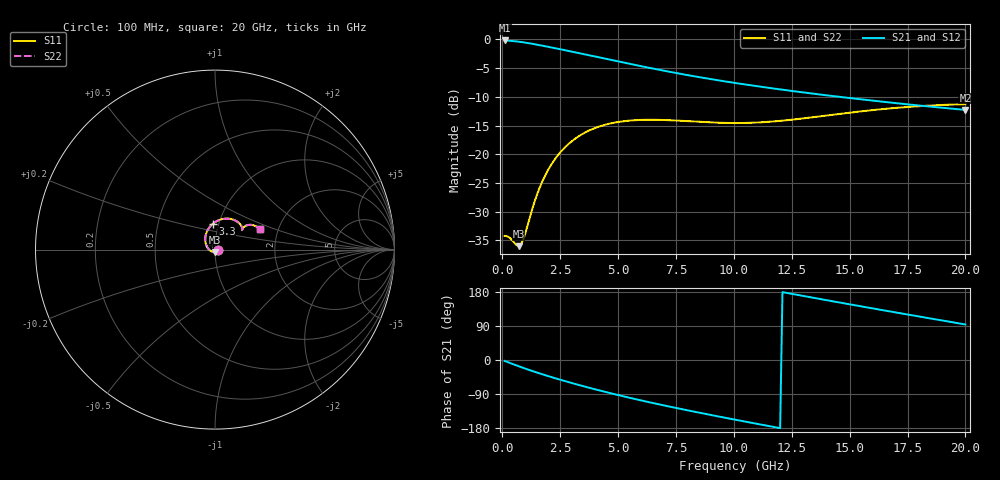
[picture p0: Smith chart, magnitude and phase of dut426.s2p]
! Touchstone file exported from HFSS 2024.1.0
!  File:  C:/UserFiles/LocalFiles/RDL_TSV_Batchsim/temp_RDL_TSV_426_1779718782.aedt
!  Generated:  10:33:43 PM May 25, 2026
!  Design:  RDL_TSV
!  Project:  temp_RDL_TSV_426_1779718782
!  Setup:  Setup1
!  Solution:  Sweep
! Variables:
!  dtsv = 14.68um
!  hbump = 3um
!  htsv = 87.79um
!  ldown = 682.67um
!  lrdl = 395.67um
!  p = 40
!  p1 = 45.3um
!  rhole = 10um
!  subl = 3630.69um
!  t = 450um
!  tdown = 4.97um
!  trdl = 2.62um
!  viad = 10um
!  wdown = 12.54um
!  wrdl = 28.05um
!  xbump = 18um
# GHz S MA R 50.000000
! Terminal data exported
! Port[1] = TM1_1_T1
! Port[2] = TM1_4_T1
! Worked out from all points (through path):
!   200 points, 100 MHz to 20 GHz, reference 50 ohm
!   highest |S21| = -0.18 dB at 100 MHz (marker M1); lowest = -12.3 dB at 20 GHz (marker M2)
!   group delay of S21, straight-line fit = 35 ps
!   lowest |S11| = -36.0 dB at 700 MHz (marker M3), VSWR 1.03, Z = 50 - j1.58 ohm
!   |S11| at or under -10 dB: start of sweep to end of sweep
!   |S22| runs from -36.0 to -11.3 dB; largest |S21 - S12| = 9.8e-15
!   S11 on the Smith chart (normalised r, x): 100 MHz: 1.04, -0.01; 3.3 GHz: 0.93, +0.27; 20 GHz: 1.60, +0.39
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0.1  0.01944 -7.6  0.9798 -2.4  0.9798 -2.4  0.01944 -7.6
! Gamma 0 0 0 0
! Port Impedance 50 0 50 0
0.3  0.01886 -26.5  0.9746 -7.2  0.9746 -7.2  0.01887 -26.5
0.7  0.01581 -87.5  0.9563 -16.3  0.9563 -16.3  0.01583 -87.5
0.8  0.0163 -107.7  0.9504 -18.5  0.9504 -18.5  0.01631 -107.6
0.9  0.01793 -127.2  0.9441 -20.7  0.9441 -20.7  0.01792 -127.1
1.5  0.0445 163.9  0.9004 -33.2  0.9004 -33.2  0.04443 164.0
1.9  0.06821 141.5  0.8688 -41.0  0.8688 -41.0  0.06808 141.6
2.5  0.1035 118.1  0.8216 -52.0  0.8216 -52.0  0.1033 118.1
3.3  0.1434 95.5  0.761 -65.8  0.761 -65.8  0.1431 95.5
3.5  0.1516 90.9  0.7463 -69.2  0.7463 -69.2  0.1513 90.9
4.2  0.1747 76.7  0.6967 -80.4  0.6967 -80.4  0.1743 76.7
5.1  0.1922 62.5  0.6375 -94.0  0.6375 -94.0  0.1918 62.5
5.9  0.1988 53.0  0.59 -105.4  0.59 -105.4  0.1982 53.0
6.8  0.1992 45.1  0.5427 -117.5  0.5427 -117.5  0.1986 45.1
8.3  0.1925 37.8  0.477 -136.5  0.477 -136.5  0.1919 37.8
10.1  0.1869 36.0  0.4162 -158.0  0.4162 -158.0  0.1864 36.1
11.6  0.1922 37.3  0.3764 -175.3  0.3764 -175.3  0.1918 37.4
13.4  0.2099 38.0  0.3374 164.5  0.3374 164.5  0.2097 38.1
15  0.2302 36.5  0.3087 146.9  0.3087 146.9  0.2302 36.6
16.7  0.2503 33.1  0.2828 128.6  0.2828 128.6  0.2504 33.1
18.3  0.2643 28.9  0.262 111.6  0.262 111.6  0.2646 29.0
20  0.2728 24.3  0.2433 93.8  0.2433 93.8  0.2731 24.3
